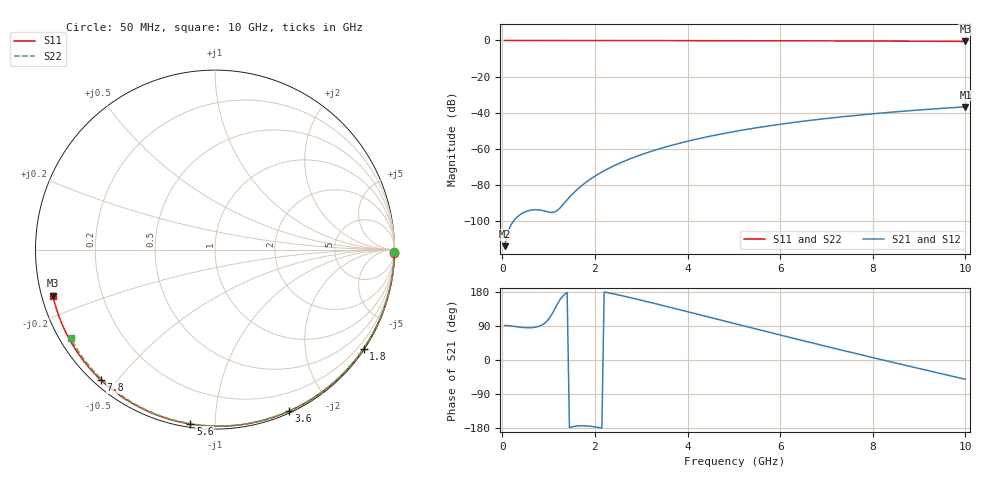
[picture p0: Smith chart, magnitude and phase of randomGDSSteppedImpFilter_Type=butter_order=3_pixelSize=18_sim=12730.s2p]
! freq	dB(S11)	phase(S11)	dB(S12)	phase(S12)
!  dB(S21)	phase(S21)	dB(S22)	phase(S22)
!S-par simulation data
#  GHz  S  DB  R 50
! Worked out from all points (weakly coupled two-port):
!   200 points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, 50 MHz to 10 GHz, reference 50 ohm
!   highest |S21| = -36.82 dB at 10 GHz (marker M1); lowest = -114.1 dB at 50 MHz (marker M2)
!   lowest |S11| = -0.5 dB at 10 GHz (marker M3), VSWR 31.76, Z = 1.6 - j6.95 ohm
!   |S11| at or under -10 dB: nowhere
!   |S22| runs from -0.5 to 0.0 dB; largest |S21 - S12| = 0
!   S11 on the Smith chart (normalised r, x): 50 MHz: open; 1.8 GHz: 0.03, -3.30; 3.6 GHz: 0.02, -1.55; 5.6 GHz: 0.02, -0.87; 7.8 GHz: 0.02, -0.45; 10 GHz: 0.03, -0.14
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0.05  -0.00 -1.0  -114.09 90.9  -114.09 90.9  -0.00 -0.9
0.45  -0.01 -8.6  -95.60 85.7  -95.60 85.7  -0.01 -7.8
0.85  -0.02 -16.1  -94.21 91.9  -94.21 91.9  -0.02 -14.6
1.25  -0.03 -23.6  -92.81 159.9  -92.81 159.9  -0.03 -21.3
1.7  -0.04 -31.9  -80.82 -173.5  -80.82 -173.5  -0.04 -28.9
1.75  -0.04 -32.8  -79.78 -173.6  -79.78 -173.6  -0.04 -29.7
1.8  -0.04 -33.7  -78.79 -173.9  -78.79 -173.9  -0.04 -30.5
2.1  -0.05 -39.1  -73.70 -178.5  -73.70 -178.5  -0.05 -35.5
2.3  -0.05 -42.7  -70.91 177.0  -70.91 177.0  -0.05 -38.8
2.5  -0.06 -46.3  -68.45 171.9  -68.45 171.9  -0.05 -42.0
2.9  -0.07 -53.4  -64.27 160.7  -64.27 160.7  -0.06 -48.5
3.4  -0.08 -62.1  -60.02 145.8  -60.02 145.8  -0.07 -56.4
3.6  -0.09 -65.5  -58.55 139.7  -58.55 139.7  -0.08 -59.5
4.3  -0.11 -77.2  -54.12 118.2  -54.12 118.2  -0.10 -70.3
5.05  -0.14 -89.4  -50.32 95.0  -50.32 95.0  -0.13 -81.4
5.6  -0.16 -98.0  -47.99 78.1  -47.99 78.1  -0.15 -89.3
6.15  -0.19 -106.5  -45.95 61.4  -45.95 61.4  -0.17 -97.1
6.7  -0.22 -114.8  -44.16 44.8  -44.16 44.8  -0.20 -104.7
7.8  -0.31 -131.2  -41.16 12.2  -41.16 12.2  -0.28 -119.5
8.35  -0.36 -139.4  -39.89 -3.8  -39.89 -3.8  -0.32 -126.8
9.2  -0.45 -152.0  -38.19 -28.2  -38.19 -28.2  -0.41 -137.9
10  -0.55 -164.2  -36.82 -50.9  -36.82 -50.9  -0.50 -148.5
